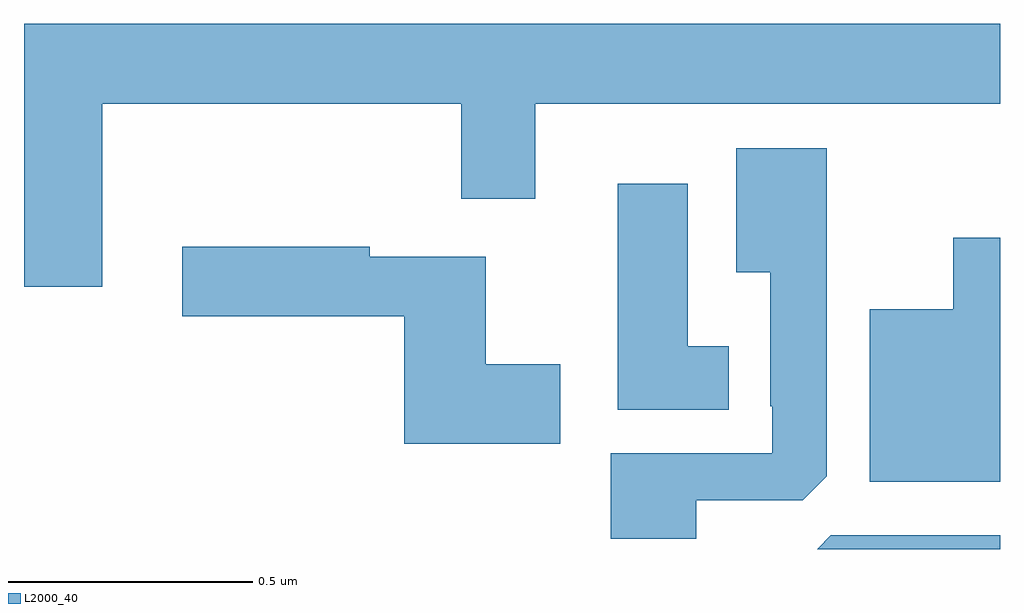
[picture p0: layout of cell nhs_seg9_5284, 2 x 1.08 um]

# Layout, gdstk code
import gdstk
lib = gdstk.Library(unit=1e-6, precision=1e-09)
def P(c, l, *ps):  # polygons
    for p in ps: c.add(gdstk.Polygon(p, *l))
L2000_40 = (2000, 40)

nhs_seg9_5284 = lib.new_cell('nhs_seg9_5284')
P(nhs_seg9_5284, L2000_40, [(177.16,1204.412),(177.896,1204.412),(177.896,1204.218),(178.048,1204.218),(178.048,1204.412),(179,1204.412),(179,1204.576),(177,1204.576),(177,1204.038),(177.16,1204.038)],
  [(178.378,1203.6),(178.596,1203.6),(178.645,1203.649),(178.645,1204.321),(178.46,1204.321),(178.46,1204.067),(178.529,1204.067),(178.529,1203.793),(178.533,1203.793),(178.533,1203.696),(178.202,1203.696),(178.202,1203.521),(178.378,1203.521)],
  [(178.444,1203.916),(178.36,1203.916),(178.36,1204.249),(178.217,1204.249),(178.217,1203.785),(178.444,1203.785)],
  [(179,1204.138),(178.904,1204.138),(178.904,1203.991),(178.733,1203.991),(178.733,1203.638),(179,1203.638)],
  [(178.099,1203.879),(177.946,1203.879),(177.946,1204.099),(177.708,1204.099),(177.708,1204.119),(177.324,1204.119),(177.324,1203.977),(177.779,1203.977),(177.779,1203.716),(178.099,1203.716)],
  [(179,1203.528),(178.653,1203.528),(178.625,1203.5),(179,1203.5)])

lib.write_gds('nhs_seg9_5284.gds')
